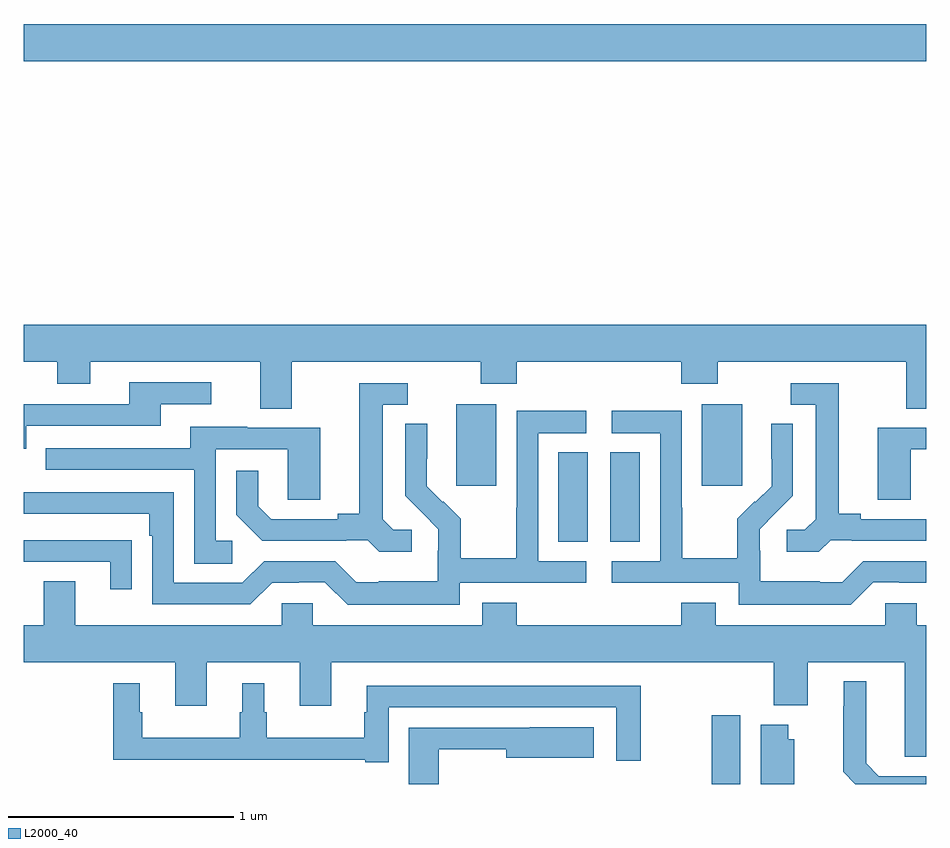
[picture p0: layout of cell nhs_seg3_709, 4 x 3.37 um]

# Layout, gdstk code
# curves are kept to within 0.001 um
import gdstk
lib = gdstk.Library(unit=1e-6, precision=1e-09)
def R(c, l, rs):  # rectangles x0, y0, x1, y1
    for r in rs: c.add(gdstk.rectangle(r[:2], r[2:], *l))
def P(c, l, *ps):  # polygons
    for p in ps: c.add(gdstk.Polygon(p, *l))
L2000_40 = (2000, 40)

nhs_seg3_709 = lib.new_cell('nhs_seg3_709')
R(nhs_seg3_709, L2000_40, [(150.049,676.4,150.175,676.705), (149.369,677.473,149.5,677.87), (149.6,677.473,149.731,677.87), (148.916,677.721,149.095,678.082), (150.005,677.721,150.184,678.082), (147,679.604,151,679.768)])
P(nhs_seg3_709, L2000_40, [(148.189,678.272),(149.026,678.272),(149.026,678.173),(149.186,678.173),(149.186,678.272),(149.915,678.272),(149.915,678.173),(150.075,678.173),(150.075,678.272),(150.911,678.272),(150.911,678.064),(151,678.064),(151,678.436),(147,678.436),(147,678.272),(147.148,678.272),(147.148,678.173),(147.295,678.173),(147.295,678.272),(148.049,678.272),(148.049,678.064),(148.189,678.064)],
  [(147.012,677.988),(147.607,677.988),(147.607,678.084),(147.832,678.084),(147.832,678.18),(147.467,678.18),(147.467,678.084),(147,678.084),(147,677.885),(147.012,677.885)],
  [(148.72,677.526),(148.638,677.526),(148.591,677.573),(148.591,678.081),(148.702,678.081),(148.702,678.177),(148.487,678.177),(148.487,677.597),(148.391,677.597),(148.391,677.574),(148.096,677.574),(148.039,677.631),(148.039,677.788),(147.942,677.788),(147.942,677.594),(148.058,677.478),(148.43,677.478),(148.43,677.481),(148.524,677.481),(148.576,677.429),(148.72,677.429)],
  [(150.576,677.481),(150.67,677.481),(150.67,677.478),(151,677.478),(151,677.574),(150.709,677.574),(150.709,677.597),(150.613,677.597),(150.613,678.177),(150.399,678.177),(150.399,678.081),(150.509,678.081),(150.509,677.573),(150.462,677.526),(150.381,677.526),(150.381,677.429),(150.524,677.429)],
  [(148.932,677.292),(149.494,677.292),(149.494,677.388),(149.28,677.388),(149.28,677.955),(149.494,677.955),(149.494,678.054),(149.184,678.054),(149.184,677.624),(149.182,677.624),(149.182,677.401),(148.937,677.401),(148.937,677.575),(148.86,677.652),(148.857,677.649),(148.787,677.72),(148.788,677.996),(148.692,677.996),(148.692,677.678),(148.838,677.53),(148.838,677.433),(148.836,677.433),(148.836,677.299),(148.573,677.299),(148.573,677.295),(148.473,677.295),(148.38,677.388),(148.065,677.388),(147.969,677.292),(147.666,677.292),(147.666,677.694),(147,677.694),(147,677.598),(147.557,677.598),(147.557,677.501),(147.57,677.501),(147.57,677.196),(148.005,677.196),(148.101,677.292),(148.22,677.292),(148.22,677.295),(148.335,677.295),(148.435,677.195),(148.932,677.195)],
  [(150.765,677.295),(150.881,677.295),(150.881,677.292),(151,677.291),(151,677.388),(150.72,677.388),(150.627,677.295),(150.527,677.295),(150.527,677.299),(150.264,677.299),(150.264,677.433),(150.262,677.433),(150.262,677.53),(150.408,677.678),(150.408,677.996),(150.312,677.996),(150.312,677.842),(150.314,677.842),(150.314,677.72),(150.243,677.649),(150.24,677.652),(150.163,677.575),(150.163,677.401),(149.919,677.401),(149.919,677.624),(149.916,677.624),(149.916,678.054),(149.607,678.054),(149.607,677.955),(149.82,677.955),(149.82,677.388),(149.607,677.388),(149.607,677.292),(150.168,677.292),(150.168,677.195),(150.665,677.195)],
  [(147.925,677.478),(147.852,677.478),(147.852,677.883),(148.17,677.883),(148.17,677.659),(148.315,677.659),(148.315,677.979),(147.991,677.979),(147.991,677.983),(147.737,677.983),(147.737,677.889),(147.097,677.889),(147.097,677.793),(147.756,677.793),(147.756,677.377),(147.925,677.377)],
  [(150.93,677.883),(151,677.883),(151,677.979),(150.785,677.979),(150.785,677.659),(150.93,677.659)],
  [(147.479,677.48),(147.377,677.48),(147.377,677.481),(147,677.481),(147,677.385),(147.383,677.385),(147.383,677.262),(147.479,677.262)],
  [(151,677.104),(150.957,677.104),(150.957,677.202),(150.819,677.202),(150.819,677.104),(150.067,677.104),(150.067,677.203),(149.915,677.203),(149.915,677.104),(149.186,677.104),(149.186,677.203),(149.033,677.203),(149.033,677.104),(148.281,677.104),(148.281,677.202),(148.143,677.202),(148.143,677.104),(147.229,677.104),(147.229,677.299),(147.089,677.299),(147.089,677.104),(147,677.104),(147,676.94),(147.671,676.94),(147.671,676.746),(147.811,676.746),(147.811,676.94),(148.223,676.94),(148.223,676.746),(148.363,676.746),(148.363,676.94),(150.323,676.94),(150.323,676.748),(150.475,676.748),(150.475,676.94),(150.905,676.94),(150.905,676.52),(151,676.52)],
  [(151,676.435),(150.789,676.435),(150.733,676.492),(150.733,676.855),(150.635,676.855),(150.635,676.745),(150.631,676.745),(150.631,676.454),(150.685,676.4),(151,676.4)],
  [(148.617,676.74),(149.625,676.74),(149.625,676.503),(149.734,676.503),(149.734,676.836),(148.52,676.836),(148.52,676.718),(148.509,676.718),(148.509,676.606),(148.078,676.606),(148.078,676.718),(148.066,676.718),(148.066,676.846),(147.968,676.846),(147.968,676.718),(147.957,676.718),(147.957,676.606),(147.526,676.606),(147.526,676.718),(147.514,676.718),(147.514,676.846),(147.397,676.846),(147.397,676.508),(148.514,676.508),(148.514,676.497),(148.617,676.497)],
  [(150.415,676.599),(150.388,676.599),(150.388,676.663),(150.266,676.663),(150.266,676.4),(150.415,676.4)],
  [(148.84,676.553),(149.138,676.553),(149.138,676.517),(149.527,676.517),(149.527,676.651),(149.242,676.651),(149.242,676.65),(148.706,676.65),(148.706,676.4),(148.84,676.4)])

lib.write_gds('nhs_seg3_709.gds')
